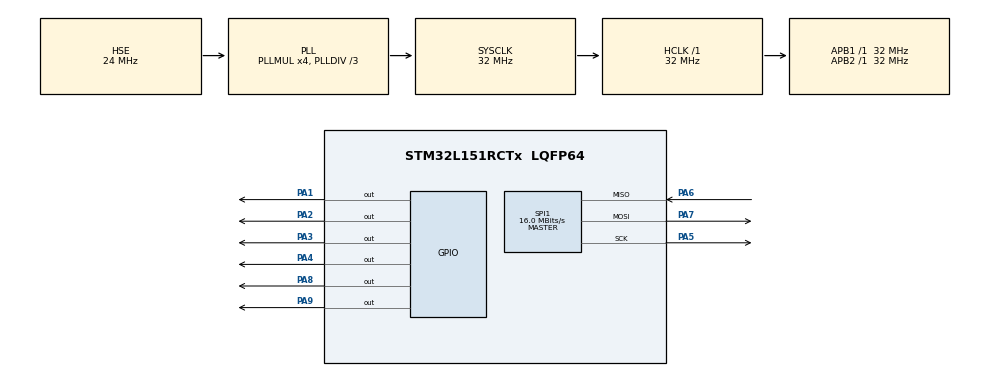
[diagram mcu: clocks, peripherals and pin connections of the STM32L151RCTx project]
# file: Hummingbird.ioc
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Dma.Request0=SPI1_TX
Dma.SPI1_TX.0.Direction=DMA_MEMORY_TO_PERIPH
Dma.SPI1_TX.0.Instance=DMA1_Channel3
Dma.SPI1_TX.0.MemDataAlignment=DMA_MDATAALIGN_BYTE
Dma.SPI1_TX.0.MemInc=DMA_MINC_ENABLE
Dma.SPI1_TX.0.Mode=DMA_NORMAL
Dma.SPI1_TX.0.PeriphDataAlignment=DMA_PDATAALIGN_BYTE
Dma.SPI1_TX.0.PeriphInc=DMA_PINC_DISABLE
Dma.SPI1_TX.0.Priority=DMA_PRIORITY_LOW
Mcu.Family=STM32L1
Mcu.Name=STM32L151RCTx
Mcu.Package=LQFP64
NVIC.DMA1_Channel3_IRQn=true\:0\:0\:false\:false\:true\:false\:true\:true
NVIC.PriorityGroup=NVIC_PRIORITYGROUP_4
PA0-WKUP1.Mode=SYS_WakeUp0
PA0-WKUP1.Signal=SYS_WKUP1
PA1.GPIO_PuPd=GPIO_PULLDOWN
PA1.Signal=GPIO_Output
PA13.Mode=JTAG_4_pins
PA13.Signal=SYS_JTMS-SWDIO
PA14.Mode=JTAG_4_pins
PA14.Signal=SYS_JTCK-SWCLK
PA15.Mode=JTAG_4_pins
PA15.Signal=SYS_JTDI
PA2.GPIO_PuPd=GPIO_PULLDOWN
PA2.Signal=GPIO_Output
PA3.GPIO_PuPd=GPIO_PULLDOWN
PA3.Signal=GPIO_Output
PA4.GPIO_PuPd=GPIO_PULLDOWN
PA4.Signal=GPIO_Output
PA5.Mode=Full_Duplex_Master
PA5.Signal=SPI1_SCK
PA6.Mode=Full_Duplex_Master
PA6.Signal=SPI1_MISO
PA7.Mode=Full_Duplex_Master
PA7.Signal=SPI1_MOSI
PA8.GPIO_PuPd=GPIO_PULLUP
PA8.Signal=GPIO_Output
PA9.Signal=GPIO_Output
PB3.Mode=JTAG_4_pins
PB3.Signal=SYS_JTDO-TRACESWO
PH0-OSC_IN.Mode=HSE-External-Oscillator
PH0-OSC_IN.Signal=RCC_OSC_IN
PH1-OSC_OUT.Mode=HSE-External-Oscillator
PH1-OSC_OUT.Signal=RCC_OSC_OUT
ProjectManager.HeapSize=0x200
ProjectManager.StackSize=0x400
ProjectManager.TargetToolchain=Makefile
RCC.48MHZClocksFreq_Value=48000000
RCC.AHBFreq_Value=32000000
RCC.APB1Freq_Value=32000000
RCC.APB1TimFreq_Value=32000000
RCC.APB2Freq_Value=32000000
RCC.APB2TimFreq_Value=32000000
RCC.HCLKFreq_Value=32000000
RCC.HSE_VALUE=24000000
RCC.HSI_VALUE=16000000
RCC.LSE_VALUE=32768
RCC.MSI_VALUE=2097000
RCC.PLLDIV=RCC_PLL_DIV3
RCC.PLLMUL=RCC_PLL_MUL4
RCC.PLLSourceVirtual=RCC_PLLSOURCE_HSE
RCC.SYSCLKFreq_VALUE=32000000
RCC.SYSCLKSource=RCC_SYSCLKSOURCE_PLLCLK
RCC.VCOOutputFreq_Value=96000000
SPI1.CalculateBaudRate=16.0 MBits/s
SPI1.Direction=SPI_DIRECTION_2LINES
SPI1.Mode=SPI_MODE_MASTER
SPI1.VirtualType=VM_MASTER
board=custom

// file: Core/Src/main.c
/* USER CODE BEGIN Header */
/**
  ******************************************************************************
  * @file           : main.c
  * @brief          : Main program body
  ******************************************************************************
  * @attention
  *
  * Copyright (c) 2022 STMicroelectronics.
  * All rights reserved.
  *
  * This software is licensed under terms that can be found in the LICENSE file
  * in the root directory of this software component.
  * If no LICENSE file comes with this software, it is provided AS-IS.
  *
  ******************************************************************************
  */
/* USER CODE END Header */
#include "main.h"

/* USER CODE BEGIN Includes */
#include <stdbool.h>
#include <stdint.h>
#include <stdlib.h>
#include <string.h>
/* USER CODE END Includes */

 SPI_HandleTypeDef hspi1;
DMA_HandleTypeDef hdma_spi1_tx;

/* USER CODE BEGIN PV */
uint8_t spi_dma_buffer[1024] = {0};
volatile bool spi_dma_tx_cmp_flag = false;
/* USER CODE END PV */

void SystemClock_Config(void);
static void MX_GPIO_Init(void);
static void MX_DMA_Init(void);
static void MX_SPI1_Init(void);

/* USER CODE BEGIN 0 */
#define WORK_GPIO_GROUP           GPIOA
#define WORK_GPIO_PIN             GPIO_PIN_9
#define LCD_RES_GPIO_GROUP        GPIOA         //PA1 LCD 复位控制
#define LCD_RES_GPIO_PIN          GPIO_PIN_1
#define LCD_DC_GPIO_GROUP         GPIOA         //PA2 LCD DC引脚，高发发送数据，低发送命令
#define LCD_DC_GPIO_PIN           GPIO_PIN_2
#define LCD_SPI_CS_GPIO_GROUP     GPIOA         //PA3 LCD SPI CS引脚
#define LCD_SPI_CS_GPIO_PIN       GPIO_PIN_3
#define LCD_BCKLIGHT_GPIO_GROUP   GPIOA         //PA4 LCD 背光控制
#define LCD_BCKLIGHT_GPIO_PIN     GPIO_PIN_4
#define LCD_POWER_CTL_GPIO_GROUP  GPIOA
#define LCD_POWER_CTL_GPIO_PIN    GPIO_PIN_8

//常用颜色
#define WHITE         	 0xFFFF
#define BLACK         	 0x0000
#define BLUE           	 0x001F
#define BRED             0XF81F
#define GRED 			       0XFFE0
#define GBLUE			       0X07FF
#define RED           	 0xF800
#define MAGENTA       	 0xF81F
#define GREEN         	 0x07E0
#define CYAN          	 0x7FFF
#define YELLOW        	 0xFFE0
#define BROWN 			     0XBC40
#define BRRED 			     0XFC07
#define GRAY  			     0X8430
#define DARKBLUE      	 0X01CF
#define LIGHTBLUE      	 0X7D7C
#define GRAYBLUE       	 0X5458
#define LIGHTGREEN     	 0X841F
#define LGRAY 			     0XC618
#define LGRAYBLUE        0XA651
#define LBBLUE           0X2B12

enum LCD_WRITE_TYPE {
  LCD_WRITE_TYPE_COMMAND,
  LCD_WRITE_TYPE_DATA,
};
int lcd_write(uint8_t* data, uint16_t size, enum LCD_WRITE_TYPE type);
int utils_lcd_write_multiple_times(uint8_t* data, uint16_t size);
int lcd_set_address(uint8_t x1, uint8_t y1, uint8_t x2, uint8_t y2);
extern const unsigned char gImage_1[40960];
extern const unsigned char gImage_2[40960];
extern const unsigned char gImage_3[40960];
extern const unsigned char gImage_4[40960];
extern const unsigned char gImage_5[40960];
/* USER CODE END 0 */

int main(void)
{

  /* MCU Configuration--------------------------------------------------------*/

  /* Reset of all peripherals, Initializes the Flash interface and the Systick. */
  HAL_Init();

  /* Configure the system clock */
  SystemClock_Config();

  /* Initialize all configured peripherals */
  MX_GPIO_Init();
  MX_DMA_Init();
  MX_SPI1_Init();
  /* USER CODE BEGIN 2 */
  /* 初始化LCD */

  /* 先随便发送一串数据，使得SCLK引脚拉高高 */
  uint8_t test=0x11;
  lcd_write(&test, 1, LCD_WRITE_TYPE_COMMAND);

  HAL_GPIO_WritePin(LCD_POWER_CTL_GPIO_GROUP, LCD_POWER_CTL_GPIO_PIN, GPIO_PIN_RESET);
  HAL_GPIO_WritePin(LCD_SPI_CS_GPIO_GROUP, LCD_SPI_CS_GPIO_PIN, GPIO_PIN_SET);
  HAL_GPIO_WritePin(LCD_RES_GPIO_GROUP, LCD_RES_GPIO_PIN, GPIO_PIN_RESET);
  HAL_Delay(100);
  HAL_GPIO_WritePin(LCD_RES_GPIO_GROUP, LCD_RES_GPIO_PIN, GPIO_PIN_SET);
  HAL_Delay(100);
  HAL_GPIO_WritePin(LCD_BCKLIGHT_GPIO_GROUP, LCD_BCKLIGHT_GPIO_PIN, GPIO_PIN_SET);
  HAL_Delay(100);

  //TODO 校验一下lcd_write的返回值
  // int ret;
  /* step 1:退出休眠 */
  uint8_t sleep_out=0x11;
  lcd_write(&sleep_out, 1, LCD_WRITE_TYPE_COMMAND);
  HAL_Delay(120);

  /* step 2:设置FRMCTR1 (B1h): Frame Rate Control (In normal mode/ Full colors) */
  uint8_t FRMCTR1 = 0xB1;
  uint8_t FRMCTR1_data1 = 0x05;
  uint8_t FRMCTR1_data2 = 0x3C;
  uint8_t FRMCTR1_data3 = 0x3C;
  lcd_write(&FRMCTR1, 1, LCD_WRITE_TYPE_COMMAND);
  lcd_write(&FRMCTR1_data1, 1, LCD_WRITE_TYPE_DATA);
  lcd_write(&FRMCTR1_data2, 1, LCD_WRITE_TYPE_DATA);
  lcd_write(&FRMCTR1_data3, 1, LCD_WRITE_TYPE_DATA);

  /* step 3:设置FRMCTR2 (B2h): Frame Rate Control (In Idle mode/ 8-colors) */
  uint8_t FRMCRT2 = 0xB2;
  uint8_t FRMCRT2_data1 = 0x05;
  uint8_t FRMCRT2_data2 = 0x3C;
  uint8_t FRMCRT2_data3 = 0x3C;
  lcd_write(&FRMCRT2, 1, LCD_WRITE_TYPE_COMMAND);
  lcd_write(&FRMCRT2_data1, 1, LCD_WRITE_TYPE_DATA);
  lcd_write(&FRMCRT2_data2, 1, LCD_WRITE_TYPE_DATA);
  lcd_write(&FRMCRT2_data3, 1, LCD_WRITE_TYPE_DATA);

  /* step 4:设置FRMCTR3 (B3h): Frame Rate Control (In Partial mode/ full colors)  */
  uint8_t FRMCRT3 = 0xB3;
  uint8_t FRMCRT3_data1 = 0x05;
  uint8_t FRMCRT3_data2 = 0x3C;
  uint8_t FRMCRT3_data3 = 0x3C;
  uint8_t FRMCRT3_data4 = 0x05;
  uint8_t FRMCRT3_data5 = 0x3C;
  uint8_t FRMCRT3_data6 = 0x3C;
  lcd_write(&FRMCRT3, 1, LCD_WRITE_TYPE_COMMAND);
  lcd_write(&FRMCRT3_data1, 1, LCD_WRITE_TYPE_DATA);
  lcd_write(&FRMCRT3_data2, 1, LCD_WRITE_TYPE_DATA);
  lcd_write(&FRMCRT3_data3, 1, LCD_WRITE_TYPE_DATA);
  lcd_write(&FRMCRT3_data4, 1, LCD_WRITE_TYPE_DATA);
  lcd_write(&FRMCRT3_data5, 1, LCD_WRITE_TYPE_DATA);
  lcd_write(&FRMCRT3_data6, 1, LCD_WRITE_TYPE_DATA);

  /* step 5:设置 INVCTR (B4h): Display Inversion Control */
  uint8_t INVCTR = 0xB4;
  uint8_t INVCTR_data1 = 0x03;
  lcd_write(&INVCTR, 1, LCD_WRITE_TYPE_COMMAND);
  lcd_write(&INVCTR_data1, 1, LCD_WRITE_TYPE_DATA);

  /* step 6:设置PWCTR1 (C0h): Power Control 1 */
  uint8_t PWCTR1 = 0xC0;
  uint8_t PWCTR1_data1 = 0x28;
  uint8_t PWCTR1_data2 = 0x08;
  uint8_t PWCTR1_data3 = 0x04;
  lcd_write(&PWCTR1, 1, LCD_WRITE_TYPE_COMMAND);
  lcd_write(&PWCTR1_data1, 1, LCD_WRITE_TYPE_DATA);
  lcd_write(&PWCTR1_data2, 1, LCD_WRITE_TYPE_DATA);
  lcd_write(&PWCTR1_data3, 1, LCD_WRITE_TYPE_DATA);

  /* step 7:设置PWCTR2 (C1h): Power Control 2 */
  uint8_t PWCTR2 = 0xC1;
  uint8_t PWCTR2_data1 = 0xC0;
  lcd_write(&PWCTR2, 1, LCD_WRITE_TYPE_COMMAND);
  lcd_write(&PWCTR2_data1, 1, LCD_WRITE_TYPE_DATA);

  /* step 8:设置PWCTR3 (C2h): Power Control 3 (in Normal mode/ Full colors) */
  uint8_t PWCTR3 = 0xC2;
  uint8_t PWCTR3_data1 = 0x0D;
  uint8_t PWCTR3_data2 = 0x00;
  lcd_write(&PWCTR3, 1, LCD_WRITE_TYPE_COMMAND);
  lcd_write(&PWCTR3_data1, 1, LCD_WRITE_TYPE_DATA);
  lcd_write(&PWCTR3_data2, 1, LCD_WRITE_TYPE_DATA);

  /* step 9:设置 PWCTR4 (C3h): Power Control 4 (in Idle mode/ 8-colors)  */
  uint8_t PWCTR4 = 0xC3;
  uint8_t PWCTR4_data1 = 0x8D;
  uint8_t PWCTR4_data2 = 0x2A;
  lcd_write(&PWCTR4, 1, LCD_WRITE_TYPE_COMMAND);
  lcd_write(&PWCTR4_data1, 1, LCD_WRITE_TYPE_DATA);
  lcd_write(&PWCTR4_data2, 1, LCD_WRITE_TYPE_DATA);

  /* step 10:设置 PWCTR5 (C4h): Power Control 5 (in Partial mode/ full-colors)  */
  uint8_t PWCTR5 = 0xC4;
  uint8_t PWCTR5_data1 = 0x8D;
  uint8_t PWCTR5_data2 = 0xEE;
  lcd_write(&PWCTR5, 1, LCD_WRITE_TYPE_COMMAND);
  lcd_write(&PWCTR5_data1, 1, LCD_WRITE_TYPE_DATA);
  lcd_write(&PWCTR5_data2, 1, LCD_WRITE_TYPE_DATA);

  /* step 10:设置 VMCTR1 (C5h): VCOM Control 1   */
  uint8_t VMCTR1 = 0xC5;
  uint8_t VMCTR1_data1 = 0x1A;
  lcd_write(&VMCTR1, 1, LCD_WRITE_TYPE_COMMAND);
  lcd_write(&VMCTR1_data1, 1, LCD_WRITE_TYPE_DATA);

  /* step 11:设置 MADCTL (36h): Memory Data Access Control  */
  uint8_t MADCTL = 0x36;
  uint8_t MADCTL_data1 = 0x70;
  lcd_write(&MADCTL, 1, LCD_WRITE_TYPE_COMMAND);
  lcd_write(&MADCTL_data1, 1, LCD_WRITE_TYPE_DATA);

  /* step 12:设置 GMCTRP1 (E0h): Gamma (�?+’polarity) Correction Characteristics Setting */
  uint8_t GMCTRP1 = 0xE0;
  uint8_t GMCTRP1_data1 =  0x04;
  uint8_t GMCTRP1_data2 =  0x22;
  uint8_t GMCTRP1_data3 =  0x07;
  uint8_t GMCTRP1_data4 =  0x0A;
  uint8_t GMCTRP1_data5 =  0x2E;
  uint8_t GMCTRP1_data6 =  0x30;
  uint8_t GMCTRP1_data7 =  0x25;
  uint8_t GMCTRP1_data8 =  0x2A;
  uint8_t GMCTRP1_data9 =  0x28;
  uint8_t GMCTRP1_data10 = 0x26;
  uint8_t GMCTRP1_data11 = 0x2E;
  uint8_t GMCTRP1_data12 = 0x3A;
  uint8_t GMCTRP1_data13 = 0x00;
  uint8_t GMCTRP1_data14 = 0x01;
  uint8_t GMCTRP1_data15 = 0x03;
  uint8_t GMCTRP1_data16 = 0x13;
  lcd_write(&GMCTRP1, 1, LCD_WRITE_TYPE_COMMAND);
  lcd_write(&GMCTRP1_data1, 1, LCD_WRITE_TYPE_DATA);
  lcd_write(&GMCTRP1_data2, 1, LCD_WRITE_TYPE_DATA);
  lcd_write(&GMCTRP1_data3, 1, LCD_WRITE_TYPE_DATA);
  lcd_write(&GMCTRP1_data4, 1, LCD_WRITE_TYPE_DATA);
  lcd_write(&GMCTRP1_data5, 1, LCD_WRITE_TYPE_DATA);
  lcd_write(&GMCTRP1_data6, 1, LCD_WRITE_TYPE_DATA);
  lcd_write(&GMCTRP1_data7, 1, LCD_WRITE_TYPE_DATA);
  lcd_write(&GMCTRP1_data8, 1, LCD_WRITE_TYPE_DATA);
  lcd_write(&GMCTRP1_data9, 1, LCD_WRITE_TYPE_DATA);
  lcd_write(&GMCTRP1_data10, 1, LCD_WRITE_TYPE_DATA);
  lcd_write(&GMCTRP1_data11, 1, LCD_WRITE_TYPE_DATA);
  lcd_write(&GMCTRP1_data12, 1, LCD_WRITE_TYPE_DATA);
  lcd_write(&GMCTRP1_data13, 1, LCD_WRITE_TYPE_DATA);
  lcd_write(&GMCTRP1_data14, 1, LCD_WRITE_TYPE_DATA);
  lcd_write(&GMCTRP1_data15, 1, LCD_WRITE_TYPE_DATA);
  lcd_write(&GMCTRP1_data16, 1, LCD_WRITE_TYPE_DATA);

  /* step 13:设置 GMCTRN1 (E1h): Gamma �?-’polarity Correction Characteristics Setting */
  uint8_t GMCTRP2 = 0xE1;
  uint8_t GMCTRP2_data1 =  0x04;
  uint8_t GMCTRP2_data2 =  0x16;
  uint8_t GMCTRP2_data3 =  0x06;
  uint8_t GMCTRP2_data4 =  0x0D;
  uint8_t GMCTRP2_data5 =  0x2D;
  uint8_t GMCTRP2_data6 =  0x26;
  uint8_t GMCTRP2_data7 =  0x23;
  uint8_t GMCTRP2_data8 =  0x27;
  uint8_t GMCTRP2_data9 =  0x27;
  uint8_t GMCTRP2_data10 = 0x25;
  uint8_t GMCTRP2_data11 = 0x2D;
  uint8_t GMCTRP2_data12 = 0x3B;
  uint8_t GMCTRP2_data13 = 0x00;
  uint8_t GMCTRP2_data14 = 0x01;
  uint8_t GMCTRP2_data15 = 0x04;
  uint8_t GMCTRP2_data16 = 0x13;
  lcd_write(&GMCTRP2, 1, LCD_WRITE_TYPE_COMMAND);
  lcd_write(&GMCTRP2_data1, 1, LCD_WRITE_TYPE_DATA);
  lcd_write(&GMCTRP2_data2, 1, LCD_WRITE_TYPE_DATA);
  lcd_write(&GMCTRP2_data3, 1, LCD_WRITE_TYPE_DATA);
  lcd_write(&GMCTRP2_data4, 1, LCD_WRITE_TYPE_DATA);
  lcd_write(&GMCTRP2_data5, 1, LCD_WRITE_TYPE_DATA);
  lcd_write(&GMCTRP2_data6, 1, LCD_WRITE_TYPE_DATA);
  lcd_write(&GMCTRP2_data7, 1, LCD_WRITE_TYPE_DATA);
  lcd_write(&GMCTRP2_data8, 1, LCD_WRITE_TYPE_DATA);
  lcd_write(&GMCTRP2_data9, 1, LCD_WRITE_TYPE_DATA);
  lcd_write(&GMCTRP2_data10, 1, LCD_WRITE_TYPE_DATA);
  lcd_write(&GMCTRP2_data11, 1, LCD_WRITE_TYPE_DATA);
  lcd_write(&GMCTRP2_data12, 1, LCD_WRITE_TYPE_DATA);
  lcd_write(&GMCTRP2_data13, 1, LCD_WRITE_TYPE_DATA);
  lcd_write(&GMCTRP2_data14, 1, LCD_WRITE_TYPE_DATA);
  lcd_write(&GMCTRP2_data15, 1, LCD_WRITE_TYPE_DATA);
  lcd_write(&GMCTRP2_data16, 1, LCD_WRITE_TYPE_DATA);

  /* step 14:设置 COLMOD (3Ah): Interface Pixel Format */
  uint8_t COLMOD = 0x3A;
  uint8_t COLMOD_data1 = 0x05;
  lcd_write(&COLMOD, 1, LCD_WRITE_TYPE_COMMAND);
  lcd_write(&COLMOD_data1, 1, LCD_WRITE_TYPE_DATA);

  /* step 15:设置 DISPON (29h): Display On */
  uint8_t DISPON=0x29;
  lcd_write(&DISPON, 1, LCD_WRITE_TYPE_COMMAND);

  /* step 16:清屏 */
  // lcd_set_address(0,0,160,128);
  // uint16_t* fill_data = malloc(128*160*sizeof(uint16_t)); //宽128像素 高160像素 每个像素16位/2字节颜色
  // if(fill_data==NULL)
  //   Error_Handler();

  // for(int i=0;i<128*160;i++){
  //   fill_data[i] = RED; //注意STM32是小端存储，低位存在高字节，所以这里需要转换一下
  //   uint8_t temp = fill_data[i] >> 8;
  //   fill_data[i] = (fill_data[i] << 8) | temp;
  // }
  // utils_lcd_write_multiple_times((uint8_t*)fill_data, 128*160*sizeof(uint16_t));
  // //HAL_Delay(200);
  // for(int i=0;i<128*160;i++){
  //   fill_data[i] = YELLOW;//注意STM32是小端存储，低位存在高字节，所以这里需要转换一下
  //   uint8_t temp = fill_data[i] >> 8;
  //   fill_data[i] = (fill_data[i] << 8) | temp;
  // }
  // utils_lcd_write_multiple_times((uint8_t*)fill_data, 128*160*sizeof(uint16_t));
  // //HAL_Delay(200);
  // for(int i=0;i<128*160;i++){
  //   fill_data[i] = BLUE;//注意STM32是小端存储，低位存在高字节，所以这里需要转换一下
  //   uint8_t temp = fill_data[i] >> 8;
  //   fill_data[i] = (fill_data[i] << 8) | temp;
  // }
  // utils_lcd_write_multiple_times((uint8_t*)fill_data, 128*160*sizeof(uint16_t));
  // //HAL_Delay(200);
  // for(int i=0;i<128*160;i++){
  //   fill_data[i] = WHITE;//注意STM32是小端存储，低位存在高字节，所以这里需要转换一下
  //   uint8_t temp = fill_data[i] >> 8;
  //   fill_data[i] = (fill_data[i] << 8) | temp;
  // }
  // utils_lcd_write_multiple_times((uint8_t*)fill_data, 128*160*sizeof(uint16_t));
  // free(fill_data);

  /* USER CODE END 2 */

  /* Infinite loop */
  /* USER CODE BEGIN WHILE */
  int count=0;
  while (1)
  {
    /* 工作指示 500ms 常闪 */
    HAL_GPIO_TogglePin(WORK_GPIO_GROUP, WORK_GPIO_PIN);
    /* USER CODE END WHILE */

    /* USER CODE BEGIN 3 */
    /* 渲染图片 */
    count++;
    if(count <= 2){
      lcd_set_address(0,0,160,128);
      utils_lcd_write_multiple_times((uint8_t*)gImage_1, sizeof(gImage_1));
    }
    else if(count <= 4){
      lcd_set_address(0,0,160,128);
      utils_lcd_write_multiple_times((uint8_t*)gImage_2, sizeof(gImage_2));
    }
    else if(count <= 6){
      lcd_set_address(0,0,160,128);
      utils_lcd_write_multiple_times((uint8_t*)gImage_3, sizeof(gImage_3));
    }
    else if(count <= 8){
      lcd_set_address(0,0,160,128);
      utils_lcd_write_multiple_times((uint8_t*)gImage_4, sizeof(gImage_4));
    }
    else if(count <= 10){
      lcd_set_address(0,0,160,128);
      utils_lcd_write_multiple_times((uint8_t*)gImage_5, sizeof(gImage_5));
    }
    if(count >= 10) {
      count=0;
      /* Check and Clear the Wakeup flag */
      if (__HAL_PWR_GET_FLAG(PWR_FLAG_WU) != RESET)
      {
        __HAL_PWR_CLEAR_FLAG(PWR_FLAG_WU);
      }
      HAL_PWR_EnableWakeUpPin(PWR_WAKEUP_PIN1);
      HAL_PWR_EnterSTANDBYMode();
    }
    HAL_Delay(500);

  }

  /* USER CODE END 3 */
}

void SystemClock_Config(void)
{
  RCC_OscInitTypeDef RCC_OscInitStruct = {0};
  RCC_ClkInitTypeDef RCC_ClkInitStruct = {0};

  /** Configure the main internal regulator output voltage
  */
  __HAL_PWR_VOLTAGESCALING_CONFIG(PWR_REGULATOR_VOLTAGE_SCALE1);

  /** Initializes the RCC Oscillators according to the specified parameters
  * in the RCC_OscInitTypeDef structure.
  */
  RCC_OscInitStruct.OscillatorType = RCC_OSCILLATORTYPE_HSE;
  RCC_OscInitStruct.HSEState = RCC_HSE_ON;
  RCC_OscInitStruct.PLL.PLLState = RCC_PLL_ON;
  RCC_OscInitStruct.PLL.PLLSource = RCC_PLLSOURCE_HSE;
  RCC_OscInitStruct.PLL.PLLMUL = RCC_PLL_MUL4;
  RCC_OscInitStruct.PLL.PLLDIV = RCC_PLL_DIV3;
  if (HAL_RCC_OscConfig(&RCC_OscInitStruct) != HAL_OK)
  {
    Error_Handler();
  }

  /** Initializes the CPU, AHB and APB buses clocks
  */
  RCC_ClkInitStruct.ClockType = RCC_CLOCKTYPE_HCLK|RCC_CLOCKTYPE_SYSCLK
                              |RCC_CLOCKTYPE_PCLK1|RCC_CLOCKTYPE_PCLK2;
  RCC_ClkInitStruct.SYSCLKSource = RCC_SYSCLKSOURCE_PLLCLK;
  RCC_ClkInitStruct.AHBCLKDivider = RCC_SYSCLK_DIV1;
  RCC_ClkInitStruct.APB1CLKDivider = RCC_HCLK_DIV1;
  RCC_ClkInitStruct.APB2CLKDivider = RCC_HCLK_DIV1;

  if (HAL_RCC_ClockConfig(&RCC_ClkInitStruct, FLASH_LATENCY_1) != HAL_OK)
  {
    Error_Handler();
  }
}

static void MX_SPI1_Init(void)
{

  /* SPI1 parameter configuration*/
  hspi1.Instance = SPI1;
  hspi1.Init.Mode = SPI_MODE_MASTER;
  hspi1.Init.Direction = SPI_DIRECTION_2LINES;
  hspi1.Init.DataSize = SPI_DATASIZE_8BIT;
  hspi1.Init.CLKPolarity = SPI_POLARITY_LOW;
  hspi1.Init.CLKPhase = SPI_PHASE_1EDGE;
  hspi1.Init.NSS = SPI_NSS_SOFT;
  hspi1.Init.BaudRatePrescaler = SPI_BAUDRATEPRESCALER_2;
  hspi1.Init.FirstBit = SPI_FIRSTBIT_MSB;
  hspi1.Init.TIMode = SPI_TIMODE_DISABLE;
  hspi1.Init.CRCCalculation = SPI_CRCCALCULATION_DISABLE;
  hspi1.Init.CRCPolynomial = 10;
  if (HAL_SPI_Init(&hspi1) != HAL_OK)
  {
    Error_Handler();
  }

}

static void MX_DMA_Init(void)
{

  /* DMA controller clock enable */
  __HAL_RCC_DMA1_CLK_ENABLE();

  /* DMA interrupt init */
  /* DMA1_Channel3_IRQn interrupt configuration */
  HAL_NVIC_SetPriority(DMA1_Channel3_IRQn, 0, 0);
  HAL_NVIC_EnableIRQ(DMA1_Channel3_IRQn);

}

static void MX_GPIO_Init(void)
{
  GPIO_InitTypeDef GPIO_InitStruct = {0};

  /* GPIO Ports Clock Enable */
  __HAL_RCC_GPIOH_CLK_ENABLE();
  __HAL_RCC_GPIOA_CLK_ENABLE();
  __HAL_RCC_GPIOB_CLK_ENABLE();

  /*Configure GPIO pin Output Level */
  HAL_GPIO_WritePin(GPIOA, GPIO_PIN_1|GPIO_PIN_2|GPIO_PIN_3|GPIO_PIN_4
                          |GPIO_PIN_8|GPIO_PIN_9, GPIO_PIN_RESET);

  /*Configure GPIO pins : PA1 PA2 PA3 PA4 */
  GPIO_InitStruct.Pin = GPIO_PIN_1|GPIO_PIN_2|GPIO_PIN_3|GPIO_PIN_4;
  GPIO_InitStruct.Mode = GPIO_MODE_OUTPUT_PP;
  GPIO_InitStruct.Pull = GPIO_PULLDOWN;
  GPIO_InitStruct.Speed = GPIO_SPEED_FREQ_LOW;
  HAL_GPIO_Init(GPIOA, &GPIO_InitStruct);

  /*Configure GPIO pin : PA8 */
  GPIO_InitStruct.Pin = GPIO_PIN_8;
  GPIO_InitStruct.Mode = GPIO_MODE_OUTPUT_PP;
  GPIO_InitStruct.Pull = GPIO_PULLUP;
  GPIO_InitStruct.Speed = GPIO_SPEED_FREQ_LOW;
  HAL_GPIO_Init(GPIOA, &GPIO_InitStruct);

  /*Configure GPIO pin : PA9 */
  GPIO_InitStruct.Pin = GPIO_PIN_9;
  GPIO_InitStruct.Mode = GPIO_MODE_OUTPUT_PP;
  GPIO_InitStruct.Pull = GPIO_NOPULL;
  GPIO_InitStruct.Speed = GPIO_SPEED_FREQ_LOW;
  HAL_GPIO_Init(GPIOA, &GPIO_InitStruct);

}

/* USER CODE BEGIN 4 */
/**
 * @brief 通过SPI接口，向LCD屏发送数�?
 * @param data 数据缓冲区，uint8指针类型
 * @param size 数据数量，不能超过DMA�?大长�?1024
 * @param type 类型，根据LCD定义，分为发送命令和数据
 * @return int 0代表成功，其他代表失�?
 */
int lcd_write(uint8_t* data, uint16_t size, enum LCD_WRITE_TYPE type){
  HAL_StatusTypeDef ret;

  // check param
  if(size > sizeof(spi_dma_buffer)){
    return -1;
  }

  memcpy(spi_dma_buffer, data, size);
  HAL_GPIO_WritePin(LCD_SPI_CS_GPIO_GROUP, LCD_SPI_CS_GPIO_PIN, GPIO_PIN_RESET);

  if(type == LCD_WRITE_TYPE_COMMAND)
    HAL_GPIO_WritePin(LCD_DC_GPIO_GROUP, LCD_DC_GPIO_PIN, GPIO_PIN_RESET);
  else if(type == LCD_WRITE_TYPE_DATA)
    HAL_GPIO_WritePin(LCD_DC_GPIO_GROUP, LCD_DC_GPIO_PIN, GPIO_PIN_SET);
  else
    return -1;

  ret = HAL_SPI_Transmit_DMA(&hspi1, spi_dma_buffer, size);
  if(ret != HAL_OK) return -1;

  while(spi_dma_tx_cmp_flag==false);
  spi_dma_tx_cmp_flag=false;

  HAL_GPIO_WritePin(LCD_DC_GPIO_GROUP, LCD_DC_GPIO_PIN, GPIO_PIN_SET);
  HAL_GPIO_WritePin(LCD_SPI_CS_GPIO_GROUP, LCD_SPI_CS_GPIO_PIN, GPIO_PIN_SET);

  //HAL_Delay(1);

  return 0;
}

/**
 * @brief 设置LCD渲染的起始地址
 *        设置完成后，直接往LCD发送数据即可渲染屏幕
 *
 * @TODO  错误处理没做
 */
int lcd_set_address(uint8_t x1, uint8_t y1, uint8_t x2, uint8_t y2){
  uint8_t CASET=0x2A;
  uint8_t CASET_data1 = 0;
  uint8_t CASET_data2 = x1+1;
  uint8_t CASET_data3 = 0;
  uint8_t CASET_data4 = x2-1+1;
  uint8_t RASET=0X2B;
  uint8_t RASET_data1= 0;
  uint8_t RASET_data2= y1+2;
  uint8_t RASET_data3= 0;
  uint8_t RASET_data4= y2-1+2;
  uint8_t RAMWR=0X2C;
  lcd_write(&CASET, 1, LCD_WRITE_TYPE_COMMAND);
  lcd_write(&CASET_data1, 1, LCD_WRITE_TYPE_DATA);
  lcd_write(&CASET_data2, 1, LCD_WRITE_TYPE_DATA);
  lcd_write(&CASET_data3, 1, LCD_WRITE_TYPE_DATA);
  lcd_write(&CASET_data4, 1, LCD_WRITE_TYPE_DATA);
  lcd_write(&RASET, 1, LCD_WRITE_TYPE_COMMAND);
  lcd_write(&RASET_data1, 1, LCD_WRITE_TYPE_DATA);
  lcd_write(&RASET_data2, 1, LCD_WRITE_TYPE_DATA);
  lcd_write(&RASET_data3, 1, LCD_WRITE_TYPE_DATA);
  lcd_write(&RASET_data4, 1, LCD_WRITE_TYPE_DATA);
  lcd_write(&RAMWR, 1, LCD_WRITE_TYPE_COMMAND);
  return 0;
}

/**
 *  @brief 渲染一个大数组
 *         多次调用lcd_write
 *  @note  由于dma限制一次只能发送1024Byte的数据，所以大数据要分多次发送
 *
 *  @return 0发送成功，其他发送失败
 */
int utils_lcd_write_multiple_times(uint8_t* data, uint16_t size){
  int send_len=0;
  int dma_len = sizeof(spi_dma_buffer);

  for(;send_len<size;){
    int ready_to_send_len=size-send_len > dma_len ? dma_len : size-send_len;
    if(lcd_write((uint8_t*)data+send_len, ready_to_send_len, LCD_WRITE_TYPE_DATA)!=0){
      return -1;
    }
    send_len+=ready_to_send_len;
  }

  return 0;
}
/* USER CODE END 4 */

void Error_Handler(void)
{
  __disable_irq();
  while (1)
  {
  }
}
